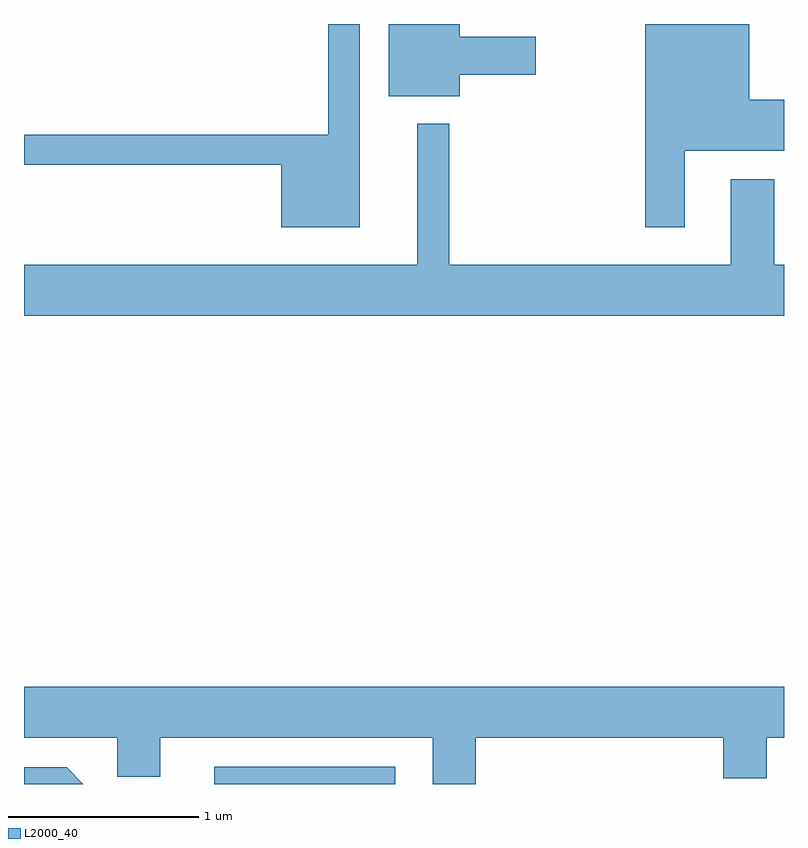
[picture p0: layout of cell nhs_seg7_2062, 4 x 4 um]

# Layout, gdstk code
import gdstk
lib = gdstk.Library(unit=1e-6, precision=1e-09)
def R(c, l, rs):  # rectangles x0, y0, x1, y1
    for r in rs: c.add(gdstk.rectangle(r[:2], r[2:], *l))
def P(c, l, *ps):  # polygons
    for p in ps: c.add(gdstk.Polygon(p, *l))
L2000_40 = (2000, 40)

nhs_seg7_2062 = lib.new_cell('nhs_seg7_2062')
R(nhs_seg7_2062, L2000_40, [(248.611,1756.252,249.564,1756.344)])
P(nhs_seg7_2062, L2000_40, [(249.379,1760.252),(249.211,1760.252),(249.211,1759.669),(247.611,1759.669),(247.611,1759.511),(248.966,1759.511),(248.966,1759.181),(249.379,1759.181)],
  [(249.904,1759.986),(250.304,1759.986),(250.304,1760.184),(249.904,1760.184),(249.904,1760.252),(249.531,1760.252),(249.531,1759.871),(249.904,1759.871)],
  [(251.089,1759.586),(251.611,1759.586),(251.611,1759.854),(251.429,1759.854),(251.429,1760.252),(250.881,1760.252),(250.881,1759.181),(251.089,1759.181)],
  [(251.611,1758.984),(251.559,1758.984),(251.559,1759.434),(251.331,1759.434),(251.331,1758.984),(249.849,1758.984),(249.849,1759.728),(249.681,1759.728),(249.681,1758.984),(247.611,1758.984),(247.611,1758.716),(251.611,1758.716)],
  [(249.989,1756.496),(251.291,1756.496),(251.291,1756.281),(251.519,1756.281),(251.519,1756.496),(251.611,1756.496),(251.611,1756.764),(247.611,1756.764),(247.611,1756.496),(248.101,1756.496),(248.101,1756.291),(248.329,1756.291),(248.329,1756.496),(249.761,1756.496),(249.761,1756.252),(249.989,1756.252)],
  [(247.837,1756.339),(247.611,1756.339),(247.611,1756.252),(247.924,1756.252)])

lib.write_gds('nhs_seg7_2062.gds')
